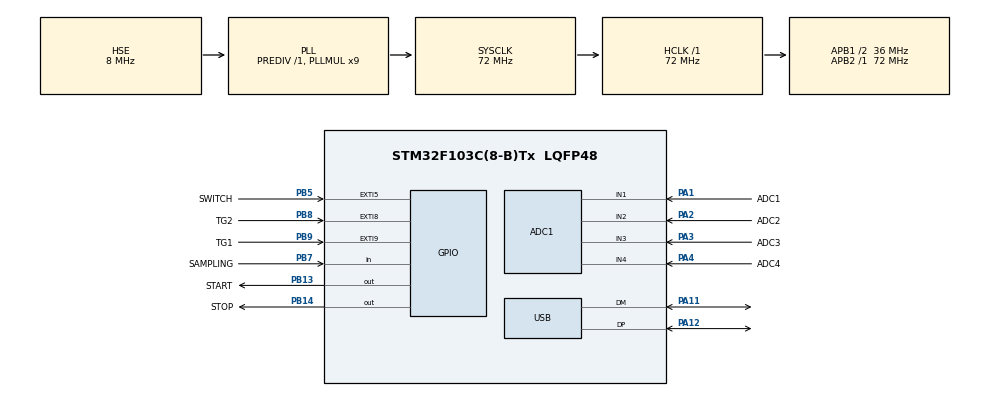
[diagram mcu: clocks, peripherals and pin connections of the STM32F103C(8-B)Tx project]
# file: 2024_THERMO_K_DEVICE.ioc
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ADC1.Channel-0\#ChannelRegularConversion=ADC_CHANNEL_1
ADC1.Channel-1\#ChannelRegularConversion=ADC_CHANNEL_1
ADC1.Channel-2\#ChannelRegularConversion=ADC_CHANNEL_1
ADC1.Channel-3\#ChannelRegularConversion=ADC_CHANNEL_1
ADC1.ContinuousConvMode=ENABLE
ADC1.NbrOfConversion=4
ADC1.NbrOfConversionFlag=1
ADC1.Rank-0\#ChannelRegularConversion=1
ADC1.Rank-1\#ChannelRegularConversion=2
ADC1.Rank-2\#ChannelRegularConversion=3
ADC1.Rank-3\#ChannelRegularConversion=4
ADC1.SamplingTime-0\#ChannelRegularConversion=ADC_SAMPLETIME_13CYCLES_5
ADC1.SamplingTime-1\#ChannelRegularConversion=ADC_SAMPLETIME_13CYCLES_5
ADC1.SamplingTime-2\#ChannelRegularConversion=ADC_SAMPLETIME_13CYCLES_5
ADC1.SamplingTime-3\#ChannelRegularConversion=ADC_SAMPLETIME_13CYCLES_5
ADC1.master=1
Dma.ADC1.0.Direction=DMA_PERIPH_TO_MEMORY
Dma.ADC1.0.Instance=DMA1_Channel1
Dma.ADC1.0.MemDataAlignment=DMA_MDATAALIGN_HALFWORD
Dma.ADC1.0.MemInc=DMA_MINC_ENABLE
Dma.ADC1.0.Mode=DMA_NORMAL
Dma.ADC1.0.PeriphDataAlignment=DMA_PDATAALIGN_HALFWORD
Dma.ADC1.0.PeriphInc=DMA_PINC_DISABLE
Dma.ADC1.0.Priority=DMA_PRIORITY_LOW
Dma.Request0=ADC1
Mcu.Family=STM32F1
Mcu.Name=STM32F103C(8-B)Tx
Mcu.Package=LQFP48
NVIC.ADC1_2_IRQn=true\:0\:0\:false\:false\:true\:true\:true\:true
NVIC.DMA1_Channel1_IRQn=true\:0\:0\:false\:false\:true\:false\:true\:true
NVIC.EXTI9_5_IRQn=true\:0\:0\:false\:false\:true\:true\:true\:true
NVIC.PriorityGroup=NVIC_PRIORITYGROUP_4
NVIC.TIM1_UP_IRQn=true\:0\:0\:false\:false\:true\:true\:true\:true
NVIC.USB_HP_CAN1_TX_IRQn=true\:0\:0\:false\:false\:true\:true\:true\:true
NVIC.USB_LP_CAN1_RX0_IRQn=true\:0\:0\:false\:false\:true\:true\:true\:true
PA1.GPIO_Label=ADC1
PA1.Signal=ADCx_IN1
PA11.Mode=Device
PA11.Signal=USB_DM
PA12.Mode=Device
PA12.Signal=USB_DP
PA13.Mode=Serial_Wire
PA13.Signal=SYS_JTMS-SWDIO
PA14.Mode=Serial_Wire
PA14.Signal=SYS_JTCK-SWCLK
PA2.GPIO_Label=ADC2
PA2.Signal=ADCx_IN2
PA3.GPIO_Label=ADC3
PA3.Signal=ADCx_IN3
PA4.GPIO_Label=ADC4
PA4.Signal=ADCx_IN4
PB13.GPIO_Label=START
PB13.Signal=GPIO_Output
PB14.GPIO_Label=STOP
PB14.Signal=GPIO_Output
PB5.GPIO_Label=SWITCH
PB5.GPIO_ModeDefaultEXTI=GPIO_MODE_IT_FALLING
PB5.GPIO_PuPd=GPIO_PULLUP
PB5.Signal=GPXTI5
PB6.GPIO_Label=PELTIER
PB6.Signal=S_TIM4_CH1
PB7.GPIO_Label=SAMPLING
PB7.Signal=GPIO_Input
PB8.GPIO_Label=TG2
PB8.GPIO_ModeDefaultEXTI=GPIO_MODE_IT_FALLING
PB8.GPIO_PuPd=GPIO_PULLUP
PB8.Signal=GPXTI8
PB9.GPIO_Label=TG1
PB9.GPIO_ModeDefaultEXTI=GPIO_MODE_IT_FALLING
PB9.GPIO_PuPd=GPIO_PULLUP
PB9.Signal=GPXTI9
PD0-OSC_IN.Mode=HSE-External-Oscillator
PD0-OSC_IN.Signal=RCC_OSC_IN
PD1-OSC_OUT.Mode=HSE-External-Oscillator
PD1-OSC_OUT.Signal=RCC_OSC_OUT
ProjectManager.HeapSize=0x200
ProjectManager.StackSize=0x400
ProjectManager.TargetToolchain=STM32CubeIDE
RCC.ADCPresc=RCC_ADCPCLK2_DIV6
RCC.AHBFreq_Value=72000000
RCC.APB1CLKDivider=RCC_HCLK_DIV2
RCC.APB1Freq_Value=36000000
RCC.APB1TimFreq_Value=72000000
RCC.APB2Freq_Value=72000000
RCC.APB2TimFreq_Value=72000000
RCC.HCLKFreq_Value=72000000
RCC.PLLMUL=RCC_PLL_MUL9
RCC.SYSCLKFreq_VALUE=72000000
RCC.SYSCLKSource=RCC_SYSCLKSOURCE_PLLCLK
RCC.USBFreq_Value=48000000
RCC.USBPrescaler=RCC_USBCLKSOURCE_PLL_DIV1_5
SH.ADCx_IN1.0=ADC1_IN1,IN1
SH.ADCx_IN2.0=ADC1_IN2,IN2
SH.ADCx_IN3.0=ADC1_IN3,IN3
SH.ADCx_IN4.0=ADC1_IN4,IN4
SH.S_TIM4_CH1.0=TIM4_CH1
TIM1.AutoReloadPreload=TIM_AUTORELOAD_PRELOAD_ENABLE
TIM1.Period=999
TIM1.Prescaler=7199
USB_DEVICE.CLASS_NAME_FS=CDC
USB_DEVICE.USBD_SELF_POWERED=0
USB_DEVICE.VirtualMode=Cdc
USB_DEVICE.VirtualModeFS=Cdc_FS
VP_TIM1_VS_ClockSourceINT.Mode=Internal
VP_USB_DEVICE_VS_USB_DEVICE_CDC_FS.Mode=CDC_FS
board=custom

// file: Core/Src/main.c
/* USER CODE BEGIN Header */
/**
  ******************************************************************************
  * @file           : main.c
  * @brief          : Main program body
  ******************************************************************************
  * @attention
  *
  * Copyright (c) 2024 STMicroelectronics.
  * All rights reserved.
  *
  * This software is licensed under terms that can be found in the LICENSE file
  * in the root directory of this software component.
  * If no LICENSE file comes with this software, it is provided AS-IS.
  *
  ******************************************************************************
  */
/* USER CODE END Header */
#include "main.h"
#include "usb_device.h"

/* USER CODE BEGIN Includes */
#include "string.h"
#include "stdio.h"
#include "stdlib.h"
#include "stdbool.h"

#include "usbd_cdc_if.h"
#include "usb_functions.h"
#include "at_cmd.h"
#include "eeprom.h"
/* USER CODE END Includes */

ADC_HandleTypeDef hadc1;
DMA_HandleTypeDef hdma_adc1;

TIM_HandleTypeDef htim1;

/* USER CODE BEGIN PV */
char usb_out_buffer[64];
char usb_in_buffer[64];

uint8_t timer_1Hz, timer_1Hz_flag;
uint8_t sampling_timer, sampling_flag;
uint32_t sampling;
uint8_t trigger_flag;

uint8_t measurement_start, default_settings;

uint16_t ADCdata [ADC_CHANNELS];
uint8_t adcConvCplt;

uint16_t VirtAddVarTab[NB_OF_VAR];
uint16_t VarDataTab[NB_OF_VAR] = {0};
uint16_t VarDataTabRead[NB_OF_VAR];
uint16_t VarIndex,VarDataTmp = 0;
/* USER CODE END PV */

void SystemClock_Config(void);
static void MX_GPIO_Init(void);
static void MX_DMA_Init(void);
static void MX_ADC1_Init(void);
static void MX_TIM1_Init(void);

int main(void)
{

  /* MCU Configuration--------------------------------------------------------*/

  /* Reset of all peripherals, Initializes the Flash interface and the Systick. */
  HAL_Init();

  /* Configure the system clock */
  SystemClock_Config();

  /* Initialize all configured peripherals */
  MX_GPIO_Init();
  MX_DMA_Init();
  MX_USB_DEVICE_Init();
  MX_ADC1_Init();
  MX_TIM1_Init();
  /* USER CODE BEGIN 2 */
  HAL_FLASH_Unlock();
  HAL_TIM_Base_Start_IT(&htim1);

  /* EEPROM Init */
  if( EE_Init() != HAL_OK) Error_Handler();
  // Fill EEPROM variables addresses
  for(VarIndex = 1; VarIndex <= NB_OF_VAR; VarIndex++){
	  VirtAddVarTab[VarIndex-1] = VarIndex;
  }
  // EEPROM actions
  // read EEPROM
  for (VarIndex = 0; VarIndex < NB_OF_VAR; VarIndex++){
	  if((EE_ReadVariable(VirtAddVarTab[VarIndex], &VarDataTabRead[VarIndex])) != HAL_OK){
		  Error_Handler();
  	  }
  }

  uint8_t crc_check = VarDataTabRead[0];
  sampling = VarDataTabRead[1];
  default_settings = VarDataTabRead[2];

  if(!default_settings){
	  default_settings = 1;
	  sampling = 5;

	  VarDataTab[0] = crc_check;
	  VarDataTab[1] = sampling;
	  VarDataTab[2] = default_settings;

	  for (VarIndex = 0; VarIndex < NB_OF_VAR; VarIndex++){
		  if((EE_WriteVariable(VirtAddVarTab[VarIndex],  VarDataTab[VarIndex])) != HAL_OK){
	  		  Error_Handler();
	  	  }
	  }
  }
  /* ------------ */

  register_cdc_str_rx_event_callback( parse_cdc_data );
  HAL_ADC_Start_DMA(&hadc1, (uint32_t*)ADCdata, ADC_CHANNELS);		//uruchomienie przetwornika
  /* USER CODE END 2 */

  /* Infinite loop */
  while (1)
  {

    /* USER CODE BEGIN 3 */
	  CDC_RX_STR_EVENT(usb_in_buffer);									//event odbioru USB

	  if(measurement_start){
		  START_ON;
		  STOP_OFF;
	  	  if(!HAL_GPIO_ReadPin(SAMPLING_GPIO_Port, SAMPLING_Pin)){
	  		  if(sampling_flag){
	  			  sprintf(usb_out_buffer,"%04d\t%04d\t%04d\t%04d\r\n", ADCdata[0], ADCdata[1], ADCdata[2], ADCdata[3]);
	  			  usb_send(usb_out_buffer);
	  			  sampling_flag = 0;
	  		  }
	  	  } else {
	  		  if(trigger_flag){
	  			  sprintf(usb_out_buffer,"%04d\t%04d\t%04d\t%04d\r\n", ADCdata[0], ADCdata[1], ADCdata[2], ADCdata[3]);
	  			  usb_send(usb_out_buffer);
	  			  trigger_flag = 0;
	  		  }
	  	  }
	  } else {
		  START_OFF;
		  STOP_ON;
	  }
  }
  /* USER CODE END 3 */
}

void SystemClock_Config(void)
{
  RCC_OscInitTypeDef RCC_OscInitStruct = {0};
  RCC_ClkInitTypeDef RCC_ClkInitStruct = {0};
  RCC_PeriphCLKInitTypeDef PeriphClkInit = {0};

  /** Initializes the RCC Oscillators according to the specified parameters
  * in the RCC_OscInitTypeDef structure.
  */
  RCC_OscInitStruct.OscillatorType = RCC_OSCILLATORTYPE_HSE;
  RCC_OscInitStruct.HSEState = RCC_HSE_ON;
  RCC_OscInitStruct.HSEPredivValue = RCC_HSE_PREDIV_DIV1;
  RCC_OscInitStruct.HSIState = RCC_HSI_ON;
  RCC_OscInitStruct.PLL.PLLState = RCC_PLL_ON;
  RCC_OscInitStruct.PLL.PLLSource = RCC_PLLSOURCE_HSE;
  RCC_OscInitStruct.PLL.PLLMUL = RCC_PLL_MUL9;
  if (HAL_RCC_OscConfig(&RCC_OscInitStruct) != HAL_OK)
  {
    Error_Handler();
  }

  /** Initializes the CPU, AHB and APB buses clocks
  */
  RCC_ClkInitStruct.ClockType = RCC_CLOCKTYPE_HCLK|RCC_CLOCKTYPE_SYSCLK
                              |RCC_CLOCKTYPE_PCLK1|RCC_CLOCKTYPE_PCLK2;
  RCC_ClkInitStruct.SYSCLKSource = RCC_SYSCLKSOURCE_PLLCLK;
  RCC_ClkInitStruct.AHBCLKDivider = RCC_SYSCLK_DIV1;
  RCC_ClkInitStruct.APB1CLKDivider = RCC_HCLK_DIV2;
  RCC_ClkInitStruct.APB2CLKDivider = RCC_HCLK_DIV1;

  if (HAL_RCC_ClockConfig(&RCC_ClkInitStruct, FLASH_LATENCY_2) != HAL_OK)
  {
    Error_Handler();
  }
  PeriphClkInit.PeriphClockSelection = RCC_PERIPHCLK_ADC|RCC_PERIPHCLK_USB;
  PeriphClkInit.AdcClockSelection = RCC_ADCPCLK2_DIV6;
  PeriphClkInit.UsbClockSelection = RCC_USBCLKSOURCE_PLL_DIV1_5;
  if (HAL_RCCEx_PeriphCLKConfig(&PeriphClkInit) != HAL_OK)
  {
    Error_Handler();
  }
}

static void MX_ADC1_Init(void)
{

  ADC_ChannelConfTypeDef sConfig = {0};

  /** Common config
  */
  hadc1.Instance = ADC1;
  hadc1.Init.ScanConvMode = ADC_SCAN_ENABLE;
  hadc1.Init.ContinuousConvMode = ENABLE;
  hadc1.Init.DiscontinuousConvMode = DISABLE;
  hadc1.Init.ExternalTrigConv = ADC_SOFTWARE_START;
  hadc1.Init.DataAlign = ADC_DATAALIGN_RIGHT;
  hadc1.Init.NbrOfConversion = 4;
  if (HAL_ADC_Init(&hadc1) != HAL_OK)
  {
    Error_Handler();
  }

  /** Configure Regular Channel
  */
  sConfig.Channel = ADC_CHANNEL_1;
  sConfig.Rank = ADC_REGULAR_RANK_1;
  sConfig.SamplingTime = ADC_SAMPLETIME_13CYCLES_5;
  if (HAL_ADC_ConfigChannel(&hadc1, &sConfig) != HAL_OK)
  {
    Error_Handler();
  }

  /** Configure Regular Channel
  */
  sConfig.Rank = ADC_REGULAR_RANK_2;
  if (HAL_ADC_ConfigChannel(&hadc1, &sConfig) != HAL_OK)
  {
    Error_Handler();
  }

  /** Configure Regular Channel
  */
  sConfig.Rank = ADC_REGULAR_RANK_3;
  if (HAL_ADC_ConfigChannel(&hadc1, &sConfig) != HAL_OK)
  {
    Error_Handler();
  }

  /** Configure Regular Channel
  */
  sConfig.Rank = ADC_REGULAR_RANK_4;
  if (HAL_ADC_ConfigChannel(&hadc1, &sConfig) != HAL_OK)
  {
    Error_Handler();
  }

}

static void MX_TIM1_Init(void)
{

  TIM_ClockConfigTypeDef sClockSourceConfig = {0};
  TIM_MasterConfigTypeDef sMasterConfig = {0};

  htim1.Instance = TIM1;
  htim1.Init.Prescaler = 7199;
  htim1.Init.CounterMode = TIM_COUNTERMODE_UP;
  htim1.Init.Period = 999;
  htim1.Init.ClockDivision = TIM_CLOCKDIVISION_DIV1;
  htim1.Init.RepetitionCounter = 0;
  htim1.Init.AutoReloadPreload = TIM_AUTORELOAD_PRELOAD_ENABLE;
  if (HAL_TIM_Base_Init(&htim1) != HAL_OK)
  {
    Error_Handler();
  }
  sClockSourceConfig.ClockSource = TIM_CLOCKSOURCE_INTERNAL;
  if (HAL_TIM_ConfigClockSource(&htim1, &sClockSourceConfig) != HAL_OK)
  {
    Error_Handler();
  }
  sMasterConfig.MasterOutputTrigger = TIM_TRGO_RESET;
  sMasterConfig.MasterSlaveMode = TIM_MASTERSLAVEMODE_DISABLE;
  if (HAL_TIMEx_MasterConfigSynchronization(&htim1, &sMasterConfig) != HAL_OK)
  {
    Error_Handler();
  }

}

static void MX_DMA_Init(void)
{

  /* DMA controller clock enable */
  __HAL_RCC_DMA1_CLK_ENABLE();

  /* DMA interrupt init */
  /* DMA1_Channel1_IRQn interrupt configuration */
  HAL_NVIC_SetPriority(DMA1_Channel1_IRQn, 0, 0);
  HAL_NVIC_EnableIRQ(DMA1_Channel1_IRQn);

}

static void MX_GPIO_Init(void)
{
  GPIO_InitTypeDef GPIO_InitStruct = {0};

  /* GPIO Ports Clock Enable */
  __HAL_RCC_GPIOD_CLK_ENABLE();
  __HAL_RCC_GPIOA_CLK_ENABLE();
  __HAL_RCC_GPIOB_CLK_ENABLE();

  /*Configure GPIO pin Output Level */
  HAL_GPIO_WritePin(GPIOB, START_Pin|STOP_Pin, GPIO_PIN_RESET);

  /*Configure GPIO pins : START_Pin STOP_Pin */
  GPIO_InitStruct.Pin = START_Pin|STOP_Pin;
  GPIO_InitStruct.Mode = GPIO_MODE_OUTPUT_PP;
  GPIO_InitStruct.Pull = GPIO_NOPULL;
  GPIO_InitStruct.Speed = GPIO_SPEED_FREQ_LOW;
  HAL_GPIO_Init(GPIOB, &GPIO_InitStruct);

  /*Configure GPIO pins : SWITCH_Pin TG2_Pin TG1_Pin */
  GPIO_InitStruct.Pin = SWITCH_Pin|TG2_Pin|TG1_Pin;
  GPIO_InitStruct.Mode = GPIO_MODE_IT_FALLING;
  GPIO_InitStruct.Pull = GPIO_PULLUP;
  HAL_GPIO_Init(GPIOB, &GPIO_InitStruct);

  /*Configure GPIO pin : PELTIER_Pin */
  GPIO_InitStruct.Pin = PELTIER_Pin;
  GPIO_InitStruct.Mode = GPIO_MODE_AF_PP;
  GPIO_InitStruct.Speed = GPIO_SPEED_FREQ_LOW;
  HAL_GPIO_Init(PELTIER_GPIO_Port, &GPIO_InitStruct);

  /*Configure GPIO pin : SAMPLING_Pin */
  GPIO_InitStruct.Pin = SAMPLING_Pin;
  GPIO_InitStruct.Mode = GPIO_MODE_INPUT;
  GPIO_InitStruct.Pull = GPIO_NOPULL;
  HAL_GPIO_Init(SAMPLING_GPIO_Port, &GPIO_InitStruct);

  /* EXTI interrupt init*/
  HAL_NVIC_SetPriority(EXTI9_5_IRQn, 0, 0);
  HAL_NVIC_EnableIRQ(EXTI9_5_IRQn);

}

/* USER CODE BEGIN 4 */
void HAL_GPIO_EXTI_Callback(uint16_t GPIO_Pin){
	switch(GPIO_Pin){
	case SWITCH_Pin:{
		measurement_start ^= (1<<0);
		break;
	}
	case TG1_Pin:{
		trigger_flag = 1;
		break;
	}
	case TG2_Pin:{
		trigger_flag = 1;
		break;
	}
	}
}

void HAL_TIM_PeriodElapsedCallback(TIM_HandleTypeDef *htim){
	if(htim->Instance == TIM1){			// 10 Hz timers!
		if(timer_1Hz < 10) timer_1Hz++;
		else {
			timer_1Hz = 0;
			timer_1Hz_flag = 1;
		}

		if(sampling_timer < (sampling * 10)) sampling_timer++;
		else {
			sampling_timer = 0;
			sampling_flag++;
		}
	}
}

void HAL_ADC_ConvCpltCallback(ADC_HandleTypeDef* hadc){
	adcConvCplt = 1;
}
/* USER CODE END 4 */

void Error_Handler(void)
{
  __disable_irq();
  while (1)
  {
  }
}
